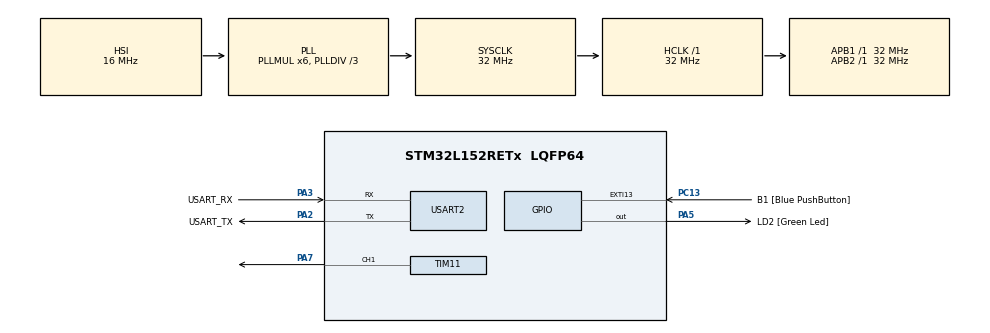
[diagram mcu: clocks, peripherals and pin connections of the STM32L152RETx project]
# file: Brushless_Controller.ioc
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Mcu.Family=STM32L1
Mcu.Name=STM32L152RETx
Mcu.Package=LQFP64
NVIC.EXTI15_10_IRQn=true\:0\:0\:false\:true\:true\:4\:true\:true\:true
NVIC.PriorityGroup=NVIC_PRIORITYGROUP_0
NVIC.TIM6_IRQn=true\:0\:0\:false\:false\:true\:true\:true\:true
NVIC.TIM7_IRQn=true\:0\:0\:false\:false\:true\:true\:true\:true
NVIC.USART2_IRQn=true\:0\:0\:false\:true\:true\:3\:true\:true\:true
PA13.GPIO_Label=TMS
PA13.Mode=Serial_Wire
PA13.Signal=SYS_JTMS-SWDIO
PA14.GPIO_Label=TCK
PA14.Mode=Serial_Wire
PA14.Signal=SYS_JTCK-SWCLK
PA2.GPIO_Label=USART_TX
PA2.Mode=Asynchronous
PA2.Signal=USART2_TX
PA3.GPIO_Label=USART_RX
PA3.Mode=Asynchronous
PA3.Signal=USART2_RX
PA5.GPIO_Label=LD2 [Green Led]
PA5.Signal=GPIO_Output
PA7.Signal=S_TIM11_CH1
PB3.GPIO_Label=SWO
PB3.Signal=SYS_JTDO-TRACESWO
PC13-WKUP2.GPIO_Label=B1 [Blue PushButton]
PC13-WKUP2.GPIO_ModeDefaultEXTI=GPIO_MODE_IT_RISING
PC13-WKUP2.Signal=GPXTI13
PC14-OSC32_IN.Mode=LSE-External-Oscillator
PC14-OSC32_IN.Signal=RCC_OSC32_IN
PC15-OSC32_OUT.Mode=LSE-External-Oscillator
PC15-OSC32_OUT.Signal=RCC_OSC32_OUT
PH0-OSC_IN.Mode=HSE-External-Clock-Source
PH0-OSC_IN.Signal=RCC_OSC_IN
PH1-OSC_OUT.Signal=RCC_OSC_OUT
ProjectManager.HeapSize=0x200
ProjectManager.StackSize=0x400
ProjectManager.TargetToolchain=STM32CubeIDE
RCC.48MHZClocksFreq_Value=48000000
RCC.AHBFreq_Value=32000000
RCC.APB1Freq_Value=32000000
RCC.APB1TimFreq_Value=32000000
RCC.APB2Freq_Value=32000000
RCC.APB2TimFreq_Value=32000000
RCC.HCLKFreq_Value=32000000
RCC.HSE_VALUE=8000000
RCC.HSI_VALUE=16000000
RCC.MSI_VALUE=2097000
RCC.PLLDIV=RCC_PLL_DIV3
RCC.PLLMUL=RCC_PLL_MUL6
RCC.RTCClockSelectionVirtual=RCC_RTCCLKSOURCE_LSE
RCC.SYSCLKFreq_VALUE=32000000
RCC.SYSCLKSource=RCC_SYSCLKSOURCE_PLLCLK
RCC.USBOutput=48000000
RCC.VCOOutputFreq_Value=96000000
SH.S_TIM11_CH1.0=TIM11_CH1,PWM Generation1 CH1
TIM11.Channel=TIM_CHANNEL_1
TIM11.Period=40000
TIM11.Prescaler=1
TIM6.AutoReloadPreload=TIM_AUTORELOAD_PRELOAD_ENABLE
TIM6.Period=1000
TIM6.Prescaler=31999
TIM7.AutoReloadPreload=TIM_AUTORELOAD_PRELOAD_ENABLE
TIM7.Period=5000
TIM7.Prescaler=31999
USART2.VirtualMode=VM_ASYNC
VP_TIM6_VS_ClockSourceINT.Mode=Enable_Timer
VP_TIM7_VS_ClockSourceINT.Mode=Enable_Timer
board=NUCLEO-L152RE

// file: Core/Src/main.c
/* USER CODE BEGIN Header */
/**
  ******************************************************************************
  * @file           : main.c
  * @brief          : Main program body
  ******************************************************************************
  * @attention
  *
  * Copyright (c) 2023 STMicroelectronics.
  * All rights reserved.
  *
  * This software is licensed under terms that can be found in the LICENSE file
  * in the root directory of this software component.
  * If no LICENSE file comes with this software, it is provided AS-IS.
  *
  ******************************************************************************
  */
/* USER CODE END Header */
#include "main.h"

/* USER CODE BEGIN Includes */

#include <stdio.h>
#include <stdint.h>
#include <string.h>
#include <stdlib.h>

/* USER CODE END Includes */

/* USER CODE BEGIN PD */

#define MIN_IDLE_TIME	5	// Minimum time at idle before starting the motor in seconds
#define MIN_STARTUP_TIME 10 // Minimum time for startup before increasing speed

/* USER CODE END PD */

TIM_HandleTypeDef htim6;
TIM_HandleTypeDef htim7;
TIM_HandleTypeDef htim11;

UART_HandleTypeDef huart2;

/* USER CODE BEGIN PV */

uint32_t _fw_mode = 0;
uint32_t _fw_status = 0;

float _fw_target_speed = 0;

const float fw_off_duty           = 0.02;
const float fw_idle_duty          = 0.28;
const float fw_min_duty           = 0.32;
const float fw_max_duty           = 0.95;

enum {
	FW_STATUS_OFF=0,
	FW_STATUS_IDLE,
	FW_STATUS_RUNNING,
};

uint8_t UARTcmd_txBuffer[256] = {0};
uint8_t UARTcmd_rxBuffer[64] = {0};
uint8_t error=0;

/* USER CODE END PV */

void SystemClock_Config(void);
static void MX_GPIO_Init(void);
static void MX_USART2_UART_Init(void);
static void MX_TIM11_Init(void);
static void MX_TIM7_Init(void);
static void MX_TIM6_Init(void);
static void MX_NVIC_Init(void);
/* USER CODE BEGIN PFP */

void HAL_TIM_PeriodElapsedCallback(TIM_HandleTypeDef *htim);
void HAL_TIM_PeriodElapsedHalfCpltCallback(TIM_HandleTypeDef *htim);
void set_LED_Blink_freq(uint32_t counter);
float set_FW_Speed(float speed);
void HAL_UART_RxCpltCallback(UART_HandleTypeDef *huart);
void Command_Parser();

/* USER CODE END PFP */

int main(void)
{

  /* MCU Configuration--------------------------------------------------------*/

  /* Reset of all peripherals, Initializes the Flash interface and the Systick. */
  HAL_Init();

  /* Configure the system clock */
  SystemClock_Config();

  /* Initialize all configured peripherals */
  MX_GPIO_Init();
  MX_USART2_UART_Init();
  MX_TIM11_Init();
  MX_TIM7_Init();
  MX_TIM6_Init();

  /* Initialize interrupts */
  MX_NVIC_Init();
  /* USER CODE BEGIN 2 */

  if (HAL_TIM_Base_Start_IT(&htim7) != HAL_OK)
		Error_Handler();

  if (HAL_TIM_Base_Start_IT(&htim6) != HAL_OK)
		Error_Handler();

  if (HAL_TIM_PWM_Start(&htim11,TIM_CHANNEL_1) != HAL_OK)
  		Error_Handler();

//while(1);
  UARTcmd_txBuffer[0] = sprintf((char*)&UARTcmd_txBuffer[1],"\r\n\nStarted !\r\n\n");
  HAL_UART_Transmit(&huart2, &UARTcmd_txBuffer[1], UARTcmd_txBuffer[0],10);

  UARTcmd_rxBuffer[0] = 1;
  if ( HAL_UART_Receive_IT(&huart2,&UARTcmd_rxBuffer[UARTcmd_rxBuffer[0]],1) != HAL_OK)
	  Error_Handler();

  /* USER CODE END 2 */

  /* Infinite loop */
  /* USER CODE BEGIN WHILE */

  uint32_t to_IDLE_time=0;
  set_LED_Blink_freq(2000);
  _fw_target_speed = set_FW_Speed(fw_off_duty);

  while (1)
  {

	  switch(_fw_status)
	  {
	  case FW_STATUS_OFF:

		  switch (_fw_mode)
		  {
		  case FW_STATUS_OFF:
			  ; // No change
			  break;

		  case FW_STATUS_IDLE:
			  _fw_target_speed = set_FW_Speed(fw_idle_duty);
			  set_LED_Blink_freq(500);
			  to_IDLE_time = HAL_GetTick();
			  _fw_status = FW_STATUS_IDLE;
			  break;

		  case FW_STATUS_RUNNING:
			  _fw_mode = _fw_status; // Not valid transition
			  break;
		  }
		  break;

	  case FW_STATUS_IDLE:

		  switch (_fw_mode)
		  {
		  case FW_STATUS_OFF:
			  _fw_target_speed = set_FW_Speed(fw_off_duty);
			  _fw_status = FW_STATUS_OFF;
			  set_LED_Blink_freq(2000);
			  break;

		  case FW_STATUS_IDLE:
			  _fw_target_speed = set_FW_Speed(fw_idle_duty); // Keep target speed at idle
			  break;

		  case FW_STATUS_RUNNING:
			  if ( (to_IDLE_time + MIN_IDLE_TIME) < HAL_GetTick() )
			  {
				  _fw_target_speed = set_FW_Speed(fw_min_duty);
				  _fw_status = FW_STATUS_RUNNING;
				  set_LED_Blink_freq(10);
				  to_IDLE_time = HAL_GetTick();
			  }
			  break;
		  }
		  break;

	  case FW_STATUS_RUNNING:

		  switch (_fw_mode)
		  {
		  case FW_STATUS_OFF:
			  _fw_target_speed = set_FW_Speed(fw_off_duty);
			  _fw_status = FW_STATUS_OFF;
			  set_LED_Blink_freq(2000);
			  break;

		  case FW_STATUS_IDLE:
			  _fw_target_speed = set_FW_Speed(fw_idle_duty);
			  _fw_status = FW_STATUS_IDLE;
			  set_LED_Blink_freq(500);
			  break;

		  case FW_STATUS_RUNNING:
			  _fw_target_speed = (fw_min_duty < _fw_target_speed) ? _fw_target_speed : fw_min_duty;
			  _fw_target_speed = (_fw_target_speed < fw_max_duty) ? _fw_target_speed : fw_max_duty;

			  if ( (to_IDLE_time + MIN_STARTUP_TIME) < HAL_GetTick() )
			  {
				  _fw_target_speed = set_FW_Speed(_fw_target_speed);
			  }
			  break;
		  }
		  break;

	  }

    /* USER CODE END WHILE */

    /* USER CODE BEGIN 3 */
	  __disable_irq();
	  UARTcmd_txBuffer[0] = sprintf((char*)&UARTcmd_txBuffer[1],"status:%lu mode:%lu rpm_tgt:%2lu error:%d\r\n", _fw_status, _fw_mode, (uint32_t) (_fw_target_speed*100.0),error);
//	  HAL_UART_Transmit(&huart2, &UARTcmd_txBuffer[1], UARTcmd_txBuffer[0],10);
	  __enable_irq();
//	  HAL_Delay(1000);

  }
  /* USER CODE END 3 */
}

void SystemClock_Config(void)
{
  RCC_OscInitTypeDef RCC_OscInitStruct = {0};
  RCC_ClkInitTypeDef RCC_ClkInitStruct = {0};

  /** Configure the main internal regulator output voltage
  */
  __HAL_PWR_VOLTAGESCALING_CONFIG(PWR_REGULATOR_VOLTAGE_SCALE1);

  /** Initializes the RCC Oscillators according to the specified parameters
  * in the RCC_OscInitTypeDef structure.
  */
  RCC_OscInitStruct.OscillatorType = RCC_OSCILLATORTYPE_HSI;
  RCC_OscInitStruct.HSIState = RCC_HSI_ON;
  RCC_OscInitStruct.HSICalibrationValue = RCC_HSICALIBRATION_DEFAULT;
  RCC_OscInitStruct.PLL.PLLState = RCC_PLL_ON;
  RCC_OscInitStruct.PLL.PLLSource = RCC_PLLSOURCE_HSI;
  RCC_OscInitStruct.PLL.PLLMUL = RCC_PLL_MUL6;
  RCC_OscInitStruct.PLL.PLLDIV = RCC_PLL_DIV3;
  if (HAL_RCC_OscConfig(&RCC_OscInitStruct) != HAL_OK)
  {
    Error_Handler();
  }

  /** Initializes the CPU, AHB and APB buses clocks
  */
  RCC_ClkInitStruct.ClockType = RCC_CLOCKTYPE_HCLK|RCC_CLOCKTYPE_SYSCLK
                              |RCC_CLOCKTYPE_PCLK1|RCC_CLOCKTYPE_PCLK2;
  RCC_ClkInitStruct.SYSCLKSource = RCC_SYSCLKSOURCE_PLLCLK;
  RCC_ClkInitStruct.AHBCLKDivider = RCC_SYSCLK_DIV1;
  RCC_ClkInitStruct.APB1CLKDivider = RCC_HCLK_DIV1;
  RCC_ClkInitStruct.APB2CLKDivider = RCC_HCLK_DIV1;

  if (HAL_RCC_ClockConfig(&RCC_ClkInitStruct, FLASH_LATENCY_1) != HAL_OK)
  {
    Error_Handler();
  }
}

/**
  * @brief NVIC Configuration.
  * @retval None
  */
static void MX_NVIC_Init(void)
{
  /* USART2_IRQn interrupt configuration */
  HAL_NVIC_SetPriority(USART2_IRQn, 0, 0);
  HAL_NVIC_EnableIRQ(USART2_IRQn);
  /* EXTI15_10_IRQn interrupt configuration */
  HAL_NVIC_SetPriority(EXTI15_10_IRQn, 0, 0);
  HAL_NVIC_EnableIRQ(EXTI15_10_IRQn);
}

static void MX_TIM6_Init(void)
{

  TIM_MasterConfigTypeDef sMasterConfig = {0};

  htim6.Instance = TIM6;
  htim6.Init.Prescaler = 31999;
  htim6.Init.CounterMode = TIM_COUNTERMODE_UP;
  htim6.Init.Period = 1000;
  htim6.Init.AutoReloadPreload = TIM_AUTORELOAD_PRELOAD_ENABLE;
  if (HAL_TIM_Base_Init(&htim6) != HAL_OK)
  {
    Error_Handler();
  }
  sMasterConfig.MasterOutputTrigger = TIM_TRGO_RESET;
  sMasterConfig.MasterSlaveMode = TIM_MASTERSLAVEMODE_DISABLE;
  if (HAL_TIMEx_MasterConfigSynchronization(&htim6, &sMasterConfig) != HAL_OK)
  {
    Error_Handler();
  }

}

static void MX_TIM7_Init(void)
{

  TIM_MasterConfigTypeDef sMasterConfig = {0};

  htim7.Instance = TIM7;
  htim7.Init.Prescaler = 31999;
  htim7.Init.CounterMode = TIM_COUNTERMODE_UP;
  htim7.Init.Period = 5000;
  htim7.Init.AutoReloadPreload = TIM_AUTORELOAD_PRELOAD_ENABLE;
  if (HAL_TIM_Base_Init(&htim7) != HAL_OK)
  {
    Error_Handler();
  }
  sMasterConfig.MasterOutputTrigger = TIM_TRGO_RESET;
  sMasterConfig.MasterSlaveMode = TIM_MASTERSLAVEMODE_DISABLE;
  if (HAL_TIMEx_MasterConfigSynchronization(&htim7, &sMasterConfig) != HAL_OK)
  {
    Error_Handler();
  }

}

static void MX_TIM11_Init(void)
{

  TIM_OC_InitTypeDef sConfigOC = {0};

  htim11.Instance = TIM11;
  htim11.Init.Prescaler = 1;
  htim11.Init.CounterMode = TIM_COUNTERMODE_UP;
  htim11.Init.Period = 40000;
  htim11.Init.ClockDivision = TIM_CLOCKDIVISION_DIV1;
  htim11.Init.AutoReloadPreload = TIM_AUTORELOAD_PRELOAD_DISABLE;
  if (HAL_TIM_PWM_Init(&htim11) != HAL_OK)
  {
    Error_Handler();
  }
  sConfigOC.OCMode = TIM_OCMODE_PWM1;
  sConfigOC.Pulse = 0;
  sConfigOC.OCPolarity = TIM_OCPOLARITY_HIGH;
  sConfigOC.OCFastMode = TIM_OCFAST_DISABLE;
  if (HAL_TIM_PWM_ConfigChannel(&htim11, &sConfigOC, TIM_CHANNEL_1) != HAL_OK)
  {
    Error_Handler();
  }
  HAL_TIM_MspPostInit(&htim11);

}

static void MX_USART2_UART_Init(void)
{

  huart2.Instance = USART2;
  huart2.Init.BaudRate = 115200;
  huart2.Init.WordLength = UART_WORDLENGTH_8B;
  huart2.Init.StopBits = UART_STOPBITS_1;
  huart2.Init.Parity = UART_PARITY_NONE;
  huart2.Init.Mode = UART_MODE_TX_RX;
  huart2.Init.HwFlowCtl = UART_HWCONTROL_NONE;
  huart2.Init.OverSampling = UART_OVERSAMPLING_16;
  if (HAL_UART_Init(&huart2) != HAL_OK)
  {
    Error_Handler();
  }

}

static void MX_GPIO_Init(void)
{
  GPIO_InitTypeDef GPIO_InitStruct = {0};

  /* GPIO Ports Clock Enable */
  __HAL_RCC_GPIOC_CLK_ENABLE();
  __HAL_RCC_GPIOH_CLK_ENABLE();
  __HAL_RCC_GPIOA_CLK_ENABLE();
  __HAL_RCC_GPIOB_CLK_ENABLE();

  /*Configure GPIO pin Output Level */
  HAL_GPIO_WritePin(LD2_GPIO_Port, LD2_Pin, GPIO_PIN_RESET);

  /*Configure GPIO pin : B1_Pin */
  GPIO_InitStruct.Pin = B1_Pin;
  GPIO_InitStruct.Mode = GPIO_MODE_IT_RISING;
  GPIO_InitStruct.Pull = GPIO_NOPULL;
  HAL_GPIO_Init(B1_GPIO_Port, &GPIO_InitStruct);

  /*Configure GPIO pin : LD2_Pin */
  GPIO_InitStruct.Pin = LD2_Pin;
  GPIO_InitStruct.Mode = GPIO_MODE_OUTPUT_PP;
  GPIO_InitStruct.Pull = GPIO_NOPULL;
  GPIO_InitStruct.Speed = GPIO_SPEED_FREQ_LOW;
  HAL_GPIO_Init(LD2_GPIO_Port, &GPIO_InitStruct);

}

/* USER CODE BEGIN 4 */

/**
* @brief Blink the LED with half period and full period timer interrupt
* @param None
* @retval None
*/
void HAL_TIM_PeriodElapsedCallback(TIM_HandleTypeDef *htim)
{
	if (htim->Instance == TIM6)
	{
		error = HAL_UART_Transmit(&huart2, &UARTcmd_txBuffer[1], UARTcmd_txBuffer[0],10);
	}

	if (htim->Instance == TIM7)
	{
		HAL_GPIO_TogglePin(LD2_GPIO_Port,LD2_Pin);
	}
}
void HAL_TIM_PeriodElapsedHalfCpltCallback(TIM_HandleTypeDef *htim)
{
	if (htim->Instance == TIM7)
		HAL_GPIO_TogglePin(LD2_GPIO_Port,LD2_Pin);
}

/**
* @brief Switch the FW mode between ready and idle
* @param counter in ms (Range 1 - 60000)
* @retval None
*/
void HAL_GPIO_EXTI_Callback(uint16_t GPIO_Pin)
{
	if (GPIO_Pin == GPIO_PIN_13)
	{
		if (_fw_status == FW_STATUS_OFF)
			_fw_mode = FW_STATUS_IDLE;
		else
			_fw_mode = FW_STATUS_OFF;
	}
}

/**
* @brief Set the blinking period
* @param counter in ms (Range 1 - 60000)
* @retval None
*/
void set_LED_Blink_freq(uint32_t counter)
{
	if (0 < counter && counter < 65535)
	{
		uint32_t a = htim7.Instance->ARR;
		__HAL_TIM_SET_AUTORELOAD(&htim7, counter);
		__HAL_TIM_SET_COUNTER(&htim7, a);

	}
}

/**
* @brief Set PWM for FW control
* @param speed in % of range (Range 0 - 1)
* @retval None
*/
float set_FW_Speed(float speed)
{
	if (0 <= speed && speed <= 1)
		htim11.Instance->CCR1 = (uint32_t) ( speed * (float)htim11.Instance->ARR );

	return speed;
}

/**
* @brief Callback when data received on UART via DMA
* @param None
* @retval None
*/
void HAL_UART_RxCpltCallback(UART_HandleTypeDef *huart)
{
	if (huart->Instance == USART2)
	{

		if (UARTcmd_rxBuffer[UARTcmd_rxBuffer[0]] == '\r') // We received an 'end of the line' char. Parsing command.
		{
			__disable_irq();
			UARTcmd_txBuffer[0] = sprintf((char*)&UARTcmd_txBuffer[1],"msg:%u:%c%c%c%c%c%c\n\r", UARTcmd_rxBuffer[0], UARTcmd_rxBuffer[1], UARTcmd_rxBuffer[2], UARTcmd_rxBuffer[3], UARTcmd_rxBuffer[4], UARTcmd_rxBuffer[5], UARTcmd_rxBuffer[6]);
			HAL_UART_Transmit(&huart2, &UARTcmd_txBuffer[1], UARTcmd_txBuffer[0],10);
			__enable_irq();

			Command_Parser();

			for (uint8_t i = 0; i < sizeof(UARTcmd_rxBuffer) ; i++) // Reseting the string
				UARTcmd_rxBuffer[i] = 0;
		}

		if (UARTcmd_rxBuffer[0] == sizeof(UARTcmd_rxBuffer)-1)
			UARTcmd_rxBuffer[0] = 0;

		UARTcmd_rxBuffer[0]++;

		error = HAL_UART_Receive_IT(&huart2, &UARTcmd_rxBuffer[UARTcmd_rxBuffer[0]], 1);

		if (error != HAL_OK)
			Error_Handler();
	}
}

/**
* @brief Parsing command received on UART
* @param None
* @retval None
*/
void Command_Parser()
{
	char option;
	unsigned int value;

	option = UARTcmd_rxBuffer[1];

	if (UARTcmd_rxBuffer[0] == 3) // one digit
	{
		if (48 <= UARTcmd_rxBuffer[2] && UARTcmd_rxBuffer[2] < 58)
			value = UARTcmd_rxBuffer[2]-48;
		else
			return;

	} else if (UARTcmd_rxBuffer[0] == 4) // two digit
	{
		if ( (48 <= UARTcmd_rxBuffer[2] && UARTcmd_rxBuffer[2] < 58)  &&
			 (48 <= UARTcmd_rxBuffer[3] && UARTcmd_rxBuffer[3] < 58) )

				value = UARTcmd_rxBuffer[3]-48 + 10*(UARTcmd_rxBuffer[2]-48);
		else
			return;
	} else
		return;

	switch(option)
	{
	case 'M':
	case 'm':
		if (0<=value && value <= 2)
			_fw_mode = value;
		break;

	case 'S':
	case 's':
		if (30<=value && value <= 99)
			_fw_target_speed = (float)value / 100.0;
		break;

	default:
		break;
	}
//	__disable_irq();
//	UARTcmd_txBuffer[0] = sprintf((char*)&UARTcmd_txBuffer[1],"mode:%c value:%u msg:%s\r\n", option, value, UARTcmd_rxBuffer);
//	HAL_UART_Transmit(&huart2, &UARTcmd_txBuffer[1], UARTcmd_txBuffer[0],10);
//	__enable_irq();
}
/* USER CODE END 4 */

void Error_Handler(void)
{
  /* USER CODE BEGIN Error_Handler_Debug */
  /* User can add his own implementation to report the HAL error return state */
  __disable_irq();
  while (1)
  {
	HAL_GPIO_TogglePin(LD2_GPIO_Port,LD2_Pin);
	uint32_t i=500000;
	while(i--)
		asm("nop");
  }
  /* USER CODE END Error_Handler_Debug */
}
